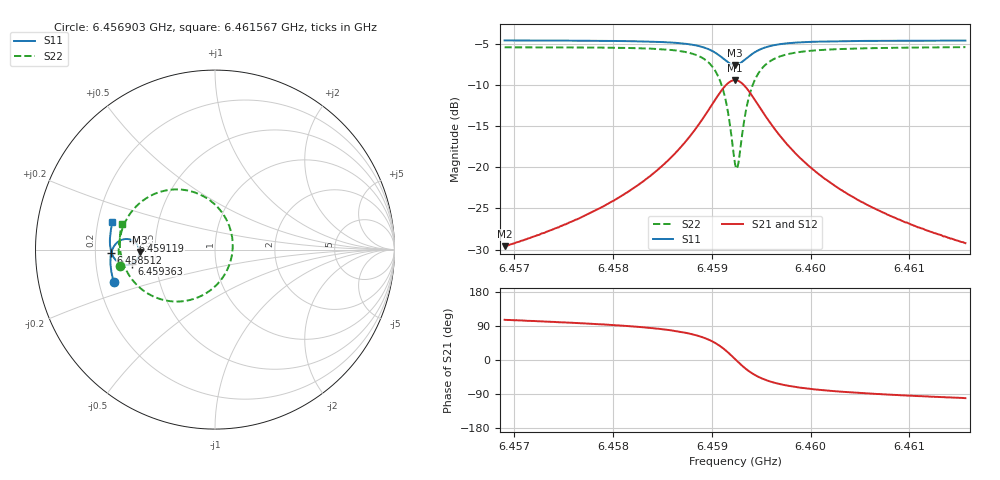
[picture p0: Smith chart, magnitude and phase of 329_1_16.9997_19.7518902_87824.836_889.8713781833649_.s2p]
#  HZ  S  RI  R  50.00
! Rohde & Schwarz Vector Network Analyzer
! Rohde-Schwarz,ZNB20-2Port,1311601062101988,3.16
! Created: UTC 3/20/2024, 11:06:50 PM
! freq[Hz]  re:S11  im:S11  re:S21  im:S21  re:S12  im:S12  re:S22  im:S22
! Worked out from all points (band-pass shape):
!   401 points, 6.456903 GHz to 6.461567 GHz, reference 50 ohm
!   highest |S21| = -9.38 dB at 6.459235 GHz (marker M1); lowest = -29.6 dB at 6.456903 GHz (marker M2)
!   |S21| within 3 dB of the highest: 6.459002 GHz to 6.459468 GHz (466.5 kHz wide, 0.00722 % of centre)
!   lowest |S11| = -7.5 dB at 6.459235 GHz (marker M3), VSWR 2.45, Z = 20.4 - j0.645 ohm
!   |S11| at or under -10 dB: nowhere
!   |S22| runs from -20.1 to -5.4 dB; largest |S21 - S12| = 0.013
!   S11 on the Smith chart (normalised r, x): 6.456903 GHz: 0.26, -0.14; 6.458512 GHz: 0.27, -0.02; 6.459119 GHz: 0.37, +0.05; 6.459363 GHz: 0.37, -0.07; 6.461567 GHz: 0.26, +0.12
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6.4569029e9  -0.5648 -0.1778  -0.00919 0.0318  -0.00733 0.0318  -0.5301 -0.0904
6.4576842e9  -0.5797 -0.1099  -0.00609 0.0494  -0.00346 0.049  -0.5366 -0.000403
6.4581157e9  -0.5832 -0.067  -0.000215 0.0688  0.00292 0.0675  -0.5292 0.0668
6.4584655e9  -0.5797 -0.0255  0.0133 0.0972  0.0173 0.0947  -0.5049 0.144
6.4585122e9  -0.5782 -0.0192  0.0167 0.1028  0.0205 0.0998  -0.4987 0.1571
6.4587221e9  -0.5662 0.0127  0.0419 0.134  0.0463 0.1294  -0.4509 0.228
6.4588737e9  -0.5454 0.0391  0.0841 0.1641  0.0875 0.1577  -0.374 0.2916
6.4590253e9  -0.4997 0.0589  0.1748 0.1831  0.1758 0.1758  -0.2093 0.3353
6.4591186e9  -0.4557 0.0489  0.2633 0.1526  0.2637 0.1467  -0.0458 0.2865
6.4591652e9  -0.4348 0.0304  0.3064 0.1105  0.3077 0.1052  0.0352 0.2119
6.4592352e9  -0.4199 -0.013  0.3393 0.0155  0.3427 0.00834  0.0987 0.0364
6.4592468e9  -0.4205 -0.0208  0.3391 -0.00194  0.3427 -0.0097  0.0984 0.00366
6.4592702e9  -0.4238 -0.0363  0.3338 -0.036  0.3373 -0.0451  0.0876 -0.0605
6.4593285e9  -0.4442 -0.0669  0.2964 -0.1071  0.2977 -0.119  0.0127 -0.193
6.4593634e9  -0.4608 -0.078  0.2648 -0.1355  0.2638 -0.1482  -0.0508 -0.2439
6.4594567e9  -0.5036 -0.0846  0.1817 -0.1663  0.1757 -0.1775  -0.2152 -0.2895
6.4596083e9  -0.547 -0.0643  0.0955 -0.1534  0.0871 -0.1594  -0.379 -0.242
6.4597716e9  -0.5684 -0.0368  0.0512 -0.1262  0.0438 -0.1289  -0.4579 -0.1718
6.4600165e9  -0.5811 -0.00131  0.0225 -0.0954  0.0167 -0.0959  -0.5052 -0.091
6.4603547e9  -0.5857 0.0386  0.0067 -0.0699  0.00282 -0.0694  -0.5262 -0.0151
6.4607978e9  -0.5837 0.083  -0.00126 -0.0509  -0.00395 -0.0502  -0.531 0.0547
6.4615674e9  -0.5715 0.1511  -0.00644 -0.034  -0.00794 -0.0331  -0.5195 0.1445
